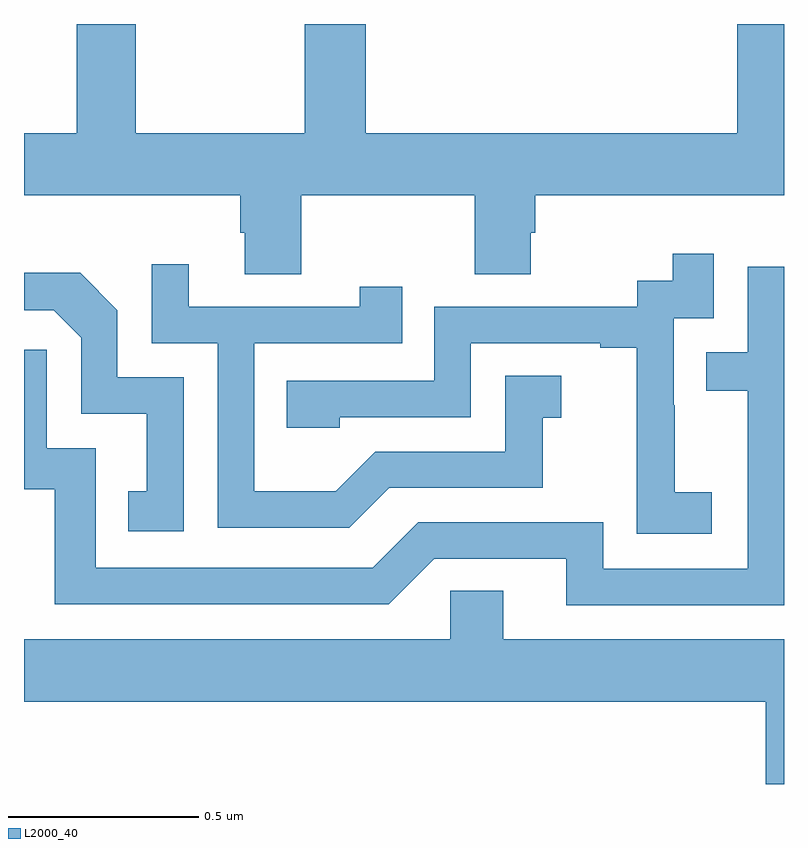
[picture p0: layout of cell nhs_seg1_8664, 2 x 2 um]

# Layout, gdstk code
import gdstk
lib = gdstk.Library(unit=1e-6, precision=1e-09)
def P(c, l, *ps):  # polygons
    for p in ps: c.add(gdstk.Polygon(p, *l))
L2000_40 = (2000, 40)

nhs_seg1_8664 = lib.new_cell('nhs_seg1_8664')
P(nhs_seg1_8664, L2000_40, [(219.294,536.199),(219.139,536.199),(219.139,535.912),(219,535.912),(219,535.748),(219.569,535.748),(219.569,535.65),(219.581,535.65),(219.581,535.54),(219.729,535.54),(219.729,535.748),(220.186,535.748),(220.186,535.54),(220.333,535.54),(220.333,535.65),(220.346,535.65),(220.346,535.748),(221,535.748),(221,536.199),(220.877,536.199),(220.877,535.912),(219.899,535.912),(219.899,536.199),(219.739,536.199),(219.739,535.912),(219.294,535.912)],
  [(220.81,534.967),(220.712,534.967),(220.712,535.196),(220.71,535.196),(220.71,535.425),(220.815,535.425),(220.815,535.594),(220.707,535.594),(220.707,535.524),(220.614,535.524),(220.614,535.455),(220.08,535.455),(220.08,535.26),(219.691,535.26),(219.691,535.137),(219.831,535.137),(219.831,535.164),(220.176,535.164),(220.176,535.359),(220.517,535.359),(220.517,535.347),(220.613,535.347),(220.613,535.063),(220.612,535.063),(220.612,534.857),(220.81,534.857)],
  [(219.961,534.978),(220.365,534.978),(220.365,535.163),(220.414,535.163),(220.414,535.273),(220.266,535.273),(220.266,535.074),(219.924,535.074),(219.82,534.97),(219.606,534.97),(219.606,535.359),(219.995,535.359),(219.995,535.507),(219.884,535.507),(219.884,535.455),(219.433,535.455),(219.433,535.567),(219.336,535.567),(219.336,535.359),(219.51,535.359),(219.51,534.873),(219.856,534.873)],
  [(221,535.56),(220.905,535.56),(220.905,535.335),(220.795,535.335),(220.795,535.234),(220.905,535.234),(220.905,534.765),(220.524,534.765),(220.524,534.888),(220.038,534.888),(219.918,534.768),(219.189,534.768),(219.189,535.083),(219.06,535.083),(219.06,535.342),(219,535.342),(219,534.975),(219.081,534.975),(219.081,534.672),(219.96,534.672),(220.08,534.792),(220.427,534.792),(220.427,534.669),(221,534.669)],
  [(219.42,535.269),(219.246,535.269),(219.246,535.446),(219.148,535.544),(219,535.544),(219,535.446),(219.078,535.446),(219.15,535.374),(219.15,535.173),(219.323,535.173),(219.323,534.969),(219.274,534.969),(219.274,534.864),(219.42,534.864)],
  [(221,534.58),(220.261,534.58),(220.261,534.707),(220.122,534.707),(220.122,534.58),(219,534.58),(219,534.416),(220.952,534.416),(220.952,534.199),(221,534.199)])

lib.write_gds('nhs_seg1_8664.gds')
